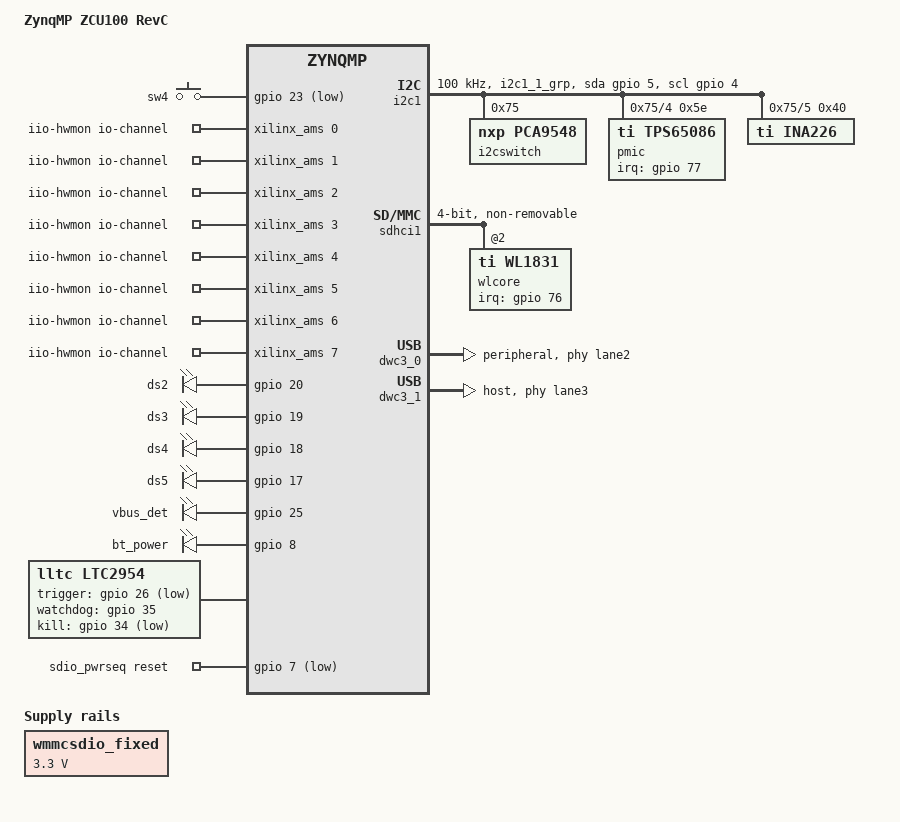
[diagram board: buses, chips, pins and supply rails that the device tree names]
/*
 * dts file for Xilinx ZynqMP ZCU100 revC
 *
 * (C) Copyright 2016, Xilinx, Inc.
 *
 * Michal Simek <michal.simek@xilinx.com>
 * Nathalie Chan King Choy <nathalie@xilinx.com>
 *
 * This program is free software; you can redistribute it and/or
 * modify it under the terms of the GNU General Public License as
 * published by the Free Software Foundation; either version 2 of
 * the License, or (at your option) any later version.
 */

/ {
	model = "ZynqMP ZCU100 RevC";
	compatible = "xlnx,zynqmp-zcu100-revC", "xlnx,zynqmp-zcu100", "xlnx,zynqmp";

	gpio-keys {
		compatible = "gpio-keys";
		#address-cells = <1>;
		#size-cells = <0>;
		autorepeat;
		sw4 {
			label = "sw4";
			gpios = <&gpio 23 1>;
			linux,code = <108>; /* down */
			gpio-key,wakeup; /* FIXME test this */
			autorepeat;
		};
	};

	iio-hwmon {
		compatible = "iio-hwmon";
		io-channels = <&xilinx_ams 0>, <&xilinx_ams 1>, <&xilinx_ams 2>,
			      <&xilinx_ams 3>, <&xilinx_ams 4>, <&xilinx_ams 5>,
			      <&xilinx_ams 6>, <&xilinx_ams 7>, <&xilinx_ams 8>,
			      <&xilinx_ams 9>, <&xilinx_ams 10>,
			      <&xilinx_ams 11>, <&xilinx_ams 12>;
	};

	leds {
		compatible = "gpio-leds";
		ds2 {
			label = "ds2";
			gpios = <&gpio 20 0>; /* uboot: gpio toggle 20 */
			linux,default-trigger = "heartbeat";
		};

		ds3 {
			label = "ds3";
			gpios = <&gpio 19 0>;
			linux,default-trigger = "phy0tx"; /* WLAN tx */
			default-state = "off";
		};

		ds4 {
			label = "ds4";
			gpios = <&gpio 18 0>;
			linux,default-trigger = "phy0rx"; /* WLAN rx */
			default-state = "off";
		};

		ds5 {
			label = "ds5";
			gpios = <&gpio 17 0>;
			linux,default-trigger = "bluetooth-power";
		};

		/* FIXME this is not correct - used fixed-regulator for it */
		vbus_det { /* U5 USB5744  VBUS detection via MIO25 */
			label = "vbus_det";
			gpios = <&gpio 25 0>;
			default-state = "on";
		};

		bt_power {
			label = "bt_power";
			gpios = <&gpio 8 0>;
			default-state = "on";
		};
	};

	ltc2954: ltc2954 { /* U7 */
		/*
		 * FIXME this is ltc2954 not ltc2952 - try this driver and
		 * maybe just extend compatible string.
		 */
		compatible = "lltc,ltc2954", "lltc,ltc2952";
		trigger-gpios = <&gpio 26 1>; /* INT line - input */
		/* If there is HW watchdog on mezzanine this signal should be connected there */
		watchdog-gpios = <&gpio 35 0>; /* MIO on PAD */
		kill-gpios = <&gpio 34 1>; /* KILL signal - output */
	};

	wmmcsdio_fixed: fixedregulator-mmcsdio {
		compatible = "regulator-fixed";
		regulator-name = "wmmcsdio_fixed";
		regulator-min-microvolt = <3300000>;
		regulator-max-microvolt = <3300000>;
		regulator-always-on;
		regulator-boot-on;
	};

	sdio_pwrseq: sdio_pwrseq {
		compatible = "mmc-pwrseq-simple";
		reset-gpios = <&gpio 7 1>; /* WIFI_EN */
	};
};

&gpio {
	gpio-line-names = "UART1_TX", "UART1_RX", "UART0_RX", "UART0_TX", "I2C1_SCL",
		  "I2C1_SDA", "SPI1_SCLK", "WLAN_EN", "BT_EN", "SPI1_CS",
		  "SPI1_MISO", "SPI1_MOSI", "I2C_MUX_RESET", "SD0_DAT0", "SD0_DAT1",
		  "SD0_DAT2", "SD0_DAT3", "PS_LED3", "PS_LED2", "PS_LED1",
		  "PS_LED0", "SD0_CMD", "SD0_CLK", "GPIO_PB", "SD0_DETECT",
		  "VBUS_DET", "POWER_INT", "DP_AUX", "DP_HPD", "DP_OE",
		  "DP_AUX_IN", "INA226_ALERT", "PS_FP_PWR_EN", "PL_PWR_EN", "POWER_KILL",
		  "", "GPIO-A", "GPIO-B", "SPI0_SCLK", "GPIO-C",
		  "GPIO-D", "SPI0_CS", "SPI0_MISO", "SPI_MOSI", "GPIO-E",
		  "GPIO-F", "SD1_D0", "SD1_D1", "SD1_D2", "SD1_D3",
		  "SD1_CMD", "SD1_CLK", "USB0_CLK", "USB0_DIR", "USB0_DATA2",
		  "USB0_NXT", "USB0_DATA0", "USB0_DATA1", "USB0_STP", "USB0_DATA3",
		  "USB0_DATA4", "USB0_DATA5", "USB0_DATA6", "USB0_DATA7", "USB1_CLK",
		  "USB1_DIR", "USB1_DATA2", "USB1_NXT", "USB1_DATA0", "USB1_DATA1",
		  "USB1_STP", "USB1_DATA3", "USB1_DATA4", "USB1_DATA5", "USB1_DATA6",
		  "USB_DATA7", "WLAN_IRQ", "PMIC_IRQ", /* MIO end and EMIO start */
		  "", "",
		  "", "", "", "", "", "", "", "", "", "",
		  "", "", "", "", "", "", "", "", "", "",
		  "", "", "", "", "", "", "", "", "", "",
		  "", "", "", "", "", "", "", "", "", "",
		  "", "", "", "", "", "", "", "", "", "",
		  "", "", "", "", "", "", "", "", "", "",
		  "", "", "", "", "", "", "", "", "", "",
		  "", "", "", "", "", "", "", "", "", "",
		  "", "", "", "", "", "", "", "", "", "",
		  "", "", "", "";
};

&pmufw {
	pinctrl-names = "default";
	pinctrl-0 = <&pinctrl_pmu_default>;
};

&i2c1 {
	pinctrl-names = "default", "gpio";
	pinctrl-0 = <&pinctrl_i2c1_default>;
	pinctrl-1 = <&pinctrl_i2c1_gpio>;
	scl-gpios = <&gpio 4 0>;
	sda-gpios = <&gpio 5 0>;
	clock-frequency = <100000>;
	i2cswitch@75 { /* u11 */
		compatible = "nxp,pca9548";
		#address-cells = <1>;
		#size-cells = <0>;
		reg = <0x75>;
		i2csw_0: i2c@0 { /* i2c mw 75 0 1 */
			#address-cells = <1>;
			#size-cells = <0>;
			reg = <0>;
			/*
			 * LSEXP_I2C0
			 */
		};
		i2csw_1: i2c@1 { /* i2c mw 75 0 2 */
			#address-cells = <1>;
			#size-cells = <0>;
			reg = <1>;
			/*
			 * LSEXP_I2C1
			 */
		};
		i2csw_2: i2c@2 { /* i2c mw 75 0 4 */
			#address-cells = <1>;
			#size-cells = <0>;
			reg = <2>;
			/*
			 * HSEXP_I2C2
			 */
		};
		i2csw_3: i2c@3 { /* i2c mw 75 0 8 */
			#address-cells = <1>;
			#size-cells = <0>;
			reg = <3>;
			/*
			 * HSEXP_I2C3
			 */
		};
		i2csw_4: i2c@4 { /* i2c mw 75 0 10 */
			#address-cells = <1>;
			#size-cells = <0>;
			reg = <0x4>;

			/* Comment it out because will be pre-programmed
			   at the factory */

			pmic: tps65086x@5e { // Custom TI PMIC u33
				compatible = "ti,tps65086";
				reg = <0x5e>;
				interrupt-parent = <&gpio>;
				interrupts = <77 1>;
				#gpio-cells = <2>;
				gpio-controller;

/*
				sys-supply = <&some_reg>;
				// spec 12V

				buck1 5V0
				buck2 PSINTLP (no idea)
				buck3 VCC_PSDDR 1V1
				buck4 3V3
				buck5 1V2
				buck6 VCC_PSAUX 1V8

				vin-sm0-supply = <&some_reg>;
				vin-sm1-supply = <&some_reg>;
				vin-sm2-supply = <&some_reg>;
				vinldo01-supply = <...>;
				vinldo23-supply = <...>;
				vinldo4-supply = <...>;
				vinldo678-supply = <...>;
				vinldo9-supply = <...>;

				regulators {
					sys_reg: sys {
					        regulator-name = "vdd_sys";
					        regulator-boot-on;
					        regulator-always-on;
					};

					sm0_reg: sm0 {
					        regulator-min-microvolt = < 725000>;
					        regulator-max-microvolt = <1500000>;
					        regulator-boot-on;
					        regulator-always-on;
					};

					sm1_reg: sm1 {
					        regulator-min-microvolt = < 725000>;
					        regulator-max-microvolt = <1500000>;
					        regulator-boot-on;
					        regulator-always-on;
					};

					sm2_reg: sm2 {
					        regulator-min-microvolt = <3000000>;
					        regulator-max-microvolt = <4550000>;
					        regulator-boot-on;
					        regulator-always-on;
					};

					ldo0_reg: ldo0 {
					        regulator-name = "PCIE CLK";
					        regulator-min-microvolt = <3300000>;
					        regulator-max-microvolt = <3300000>;
					};

					ldo1_reg: ldo1 {
					        regulator-min-microvolt = < 725000>;
					        regulator-max-microvolt = <1500000>;
					};

					ldo2_reg: ldo2 {
					        regulator-min-microvolt = < 725000>;
					        regulator-max-microvolt = <1500000>;
					};

					ldo3_reg: ldo3 {
					        regulator-min-microvolt = <1250000>;
					        regulator-max-microvolt = <3300000>;
					};

					ldo4_reg: ldo4 {
					        regulator-min-microvolt = <1700000>;
					        regulator-max-microvolt = <2475000>;
					};

					ldo5_reg: ldo5 {
					        regulator-min-microvolt = <1250000>;
					        regulator-max-microvolt = <3300000>;
					};

					ldo6_reg: ldo6 {
					        regulator-min-microvolt = <1250000>;
					        regulator-max-microvolt = <3300000>;
					};

					ldo7_reg: ldo7 {
					        regulator-min-microvolt = <1250000>;
					        regulator-max-microvolt = <3300000>;
					};

					ldo8_reg: ldo8 {
					        regulator-min-microvolt = <1250000>;
					        regulator-max-microvolt = <3300000>;
					};

					ldo9_reg: ldo9 {
					        regulator-min-microvolt = <1250000>;
					        regulator-max-microvolt = <3300000>;
					};

				// FIXME look at this one
					ldo_rtc {
						regulator-name = "vdd_rtc_out,vdd_cell";
						regulator-min-microvolt = <3300000>;
						regulator-max-microvolt = <3300000>;
						regulator-always-on;
					};
				};
				*/
			};
		};
		i2csw_5: i2c@5 { /* i2c mw 75 0 20 */
			#address-cells = <1>;
			#size-cells = <0>;
			reg = <5>;
			/* PS_PMBUS */
			ina226@40 { /* u35 */
				compatible = "ti,ina226";
				reg = <0x40>;
				shunt-resistor = <10000>;
				/* MIO31 is alert which should be routed to PMUFW */
			};
		};
		i2csw_6: i2c@6 { /* i2c mw 75 0 40 */
			#address-cells = <1>;
			#size-cells = <0>;
			reg = <6>;
			/*
			 * Not Connected
			 */
		};
		i2csw_7: i2c@7 { /* i2c mw 75 0 80 */
			#address-cells = <1>;
			#size-cells = <0>;
			reg = <7>;
			/*
			 * usb5744 (DNP) - U5
			 * 100kHz - this is default freq for us
			 */
		};
	};
};

&pinctrl0 {
	status = "okay";
	pinctrl_i2c1_default: i2c1-default {
		mux {
			groups = "i2c1_1_grp";
			function = "i2c1";
		};

		conf {
			groups = "i2c1_1_grp";
			bias-pull-up;
			slew-rate = <1>;
			io-standard = <1>;
		};
	};

	pinctrl_i2c1_gpio: i2c1-gpio {
		mux {
			groups = "gpio0_4_grp", "gpio0_5_grp";
			function = "gpio0";
		};

		conf {
			groups = "gpio0_4_grp", "gpio0_5_grp";
			slew-rate = <1>;
			io-standard = <1>;
		};
	};

	pinctrl_pmu_default: pmu-default {
		mux {
			groups = "pmu0_8_grp";
			function = "pmu0";
		};

		conf {
			groups = "pmu0_8_grp";
			bias-pull-up;
			slew-rate = <1>;
			io-standard = <1>;
		};
	};
};

/* SD0 only supports 3.3V, no level shifter */
&sdhci0 {
	no-1-8-v;
	broken-cd; /* CD has to be enabled by default */
	disable-wp;
};

&sdhci1 {
	bus-width = <0x4>;
	non-removable;
	disable-wp;
	cap-power-off-card;
	mmc-pwrseq = <&sdio_pwrseq>;
	vqmmc-supply = <&wmmcsdio_fixed>;
	#address-cells = <1>;
	#size-cells = <0>;
	wlcore: wlcore@2 {
		compatible = "ti,wl1831";
		reg = <2>;
		interrupt-parent = <&gpio>;
		interrupts = <76 1>; /* MIO76 WLAN_IRQ 1V8 */
	};
};

&dwc3_0 {
	dr_mode = "peripheral";
	phy-names = "usb3-phy";
	phys = <&lane2 4 0 0 26000000>;
	maximum-speed = "super-speed";
};

&dwc3_1 {
	dr_mode = "host";
	phy-names = "usb3-phy";
	phys = <&lane3 4 1 0 26000000>;
	maximum-speed = "super-speed";
};
